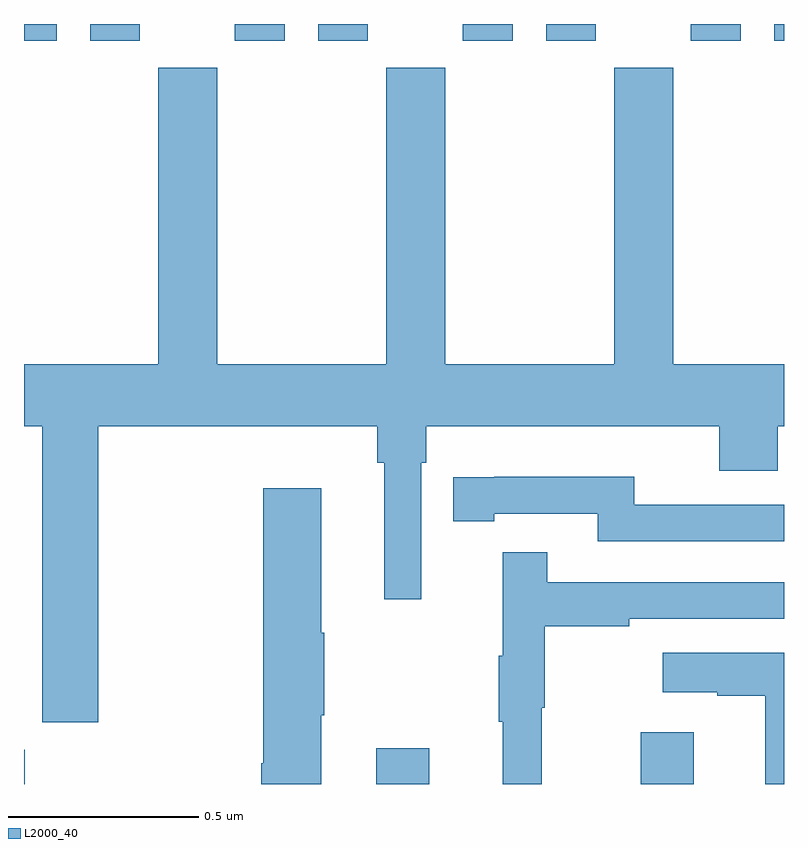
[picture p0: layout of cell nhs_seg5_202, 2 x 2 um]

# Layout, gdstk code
import gdstk
lib = gdstk.Library(unit=1e-6, precision=1e-09)
def R(c, l, rs):  # rectangles x0, y0, x1, y1
    for r in rs: c.add(gdstk.rectangle(r[:2], r[2:], *l))
def P(c, l, *ps):  # polygons
    for p in ps: c.add(gdstk.Polygon(p, *l))
L2000_40 = (2000, 40)

nhs_seg5_202 = lib.new_cell('nhs_seg5_202')
R(nhs_seg5_202, L2000_40, [(113,875.799,113.002,875.889), (113.927,875.799,114.067,875.893), (114.623,875.799,114.763,875.935), (113,877.755,113.086,877.799), (113.174,877.755,113.305,877.799), (113.555,877.755,113.686,877.799), (113.774,877.755,113.905,877.799), (114.155,877.755,114.286,877.799), (114.374,877.755,114.505,877.799), (114.755,877.755,114.886,877.799), (114.974,877.755,115,877.799)])
P(nhs_seg5_202, L2000_40, [(113.196,876.74),(113.929,876.74),(113.929,876.644),(113.948,876.644),(113.948,876.285),(114.045,876.285),(114.045,876.644),(114.059,876.644),(114.059,876.74),(114.83,876.74),(114.83,876.623),(114.983,876.623),(114.983,876.74),(115,876.74),(115,876.904),(114.708,876.904),(114.708,877.684),(114.553,877.684),(114.553,876.904),(114.108,876.904),(114.108,877.684),(113.953,877.684),(113.953,876.904),(113.508,876.904),(113.508,877.684),(113.353,877.684),(113.353,876.904),(113,876.904),(113,876.74),(113.048,876.74),(113.048,875.961),(113.196,875.961)],
  [(115,876.534),(114.606,876.534),(114.606,876.607),(114.238,876.607),(114.238,876.606),(114.13,876.606),(114.13,876.49),(114.238,876.49),(114.238,876.51),(114.51,876.51),(114.51,876.438),(115,876.438)],
  [(113.782,875.98),(113.79,875.98),(113.79,876.197),(113.782,876.197),(113.782,876.577),(113.629,876.577),(113.629,875.854),(113.624,875.854),(113.624,875.799),(113.782,875.799)],
  [(114.362,876),(114.37,876),(114.37,876.214),(114.593,876.214),(114.593,876.234),(115,876.234),(115,876.33),(114.377,876.33),(114.377,876.409),(114.26,876.409),(114.26,876.137),(114.249,876.137),(114.249,875.963),(114.26,875.963),(114.26,875.799),(114.362,875.799)],
  [(115,876.145),(114.681,876.145),(114.681,876.041),(114.824,876.041),(114.824,876.031),(114.95,876.031),(114.95,875.799),(115,875.799)])

lib.write_gds('nhs_seg5_202.gds')
